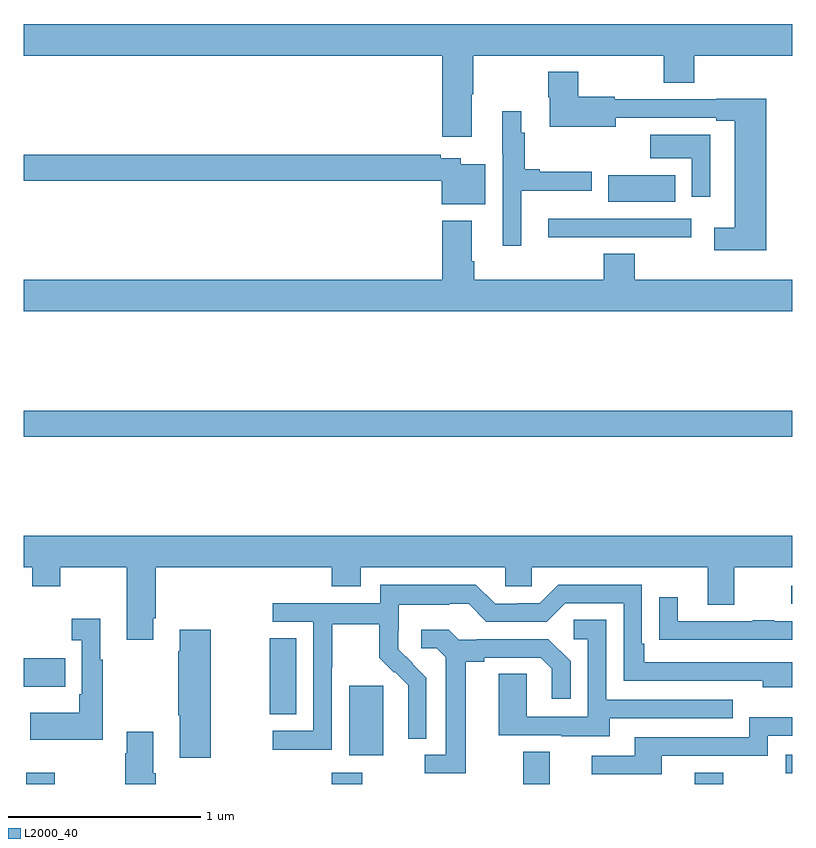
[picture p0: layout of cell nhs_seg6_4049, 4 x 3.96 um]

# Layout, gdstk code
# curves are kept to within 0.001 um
import gdstk
lib = gdstk.Library(unit=1e-6, precision=1e-09)
def R(c, l, rs):  # rectangles x0, y0, x1, y1
    for r in rs: c.add(gdstk.rectangle(r[:2], r[2:], *l))
def P(c, l, *ps):  # polygons
    for p in ps: c.add(gdstk.Polygon(p, *l))
L2000_40 = (2000, 40)

nhs_seg6_4049 = lib.new_cell('nhs_seg6_4049')
R(nhs_seg6_4049, L2000_40, [(349.014,987.5,349.161,987.559), (350.603,987.5,350.763,987.559), (351.599,987.5,351.739,987.668), (352.493,987.5,352.641,987.559), (352.965,987.555,353,987.651), (350.693,987.65,350.872,988.011), (350.281,987.862,350.419,988.259), (349,988.007,349.217,988.155), (352.995,988.437,353,988.533), (349,989.308,353,989.444), (352.042,990.53,352.391,990.67)])
P(nhs_seg6_4049, L2000_40, [(351.331,991.09),(351.339,991.09),(351.339,991.292),(352.33,991.292),(352.33,991.15),(352.49,991.15),(352.49,991.292),(353,991.292),(353,991.456),(349,991.456),(349,991.292),(351.179,991.292),(351.179,990.87),(351.331,990.87)],
  [(352.865,991.068),(352.604,991.068),(352.604,991.065),(352.077,991.065),(352.077,991.078),(351.885,991.078),(351.885,991.207),(351.73,991.207),(351.73,991.074),(351.737,991.074),(351.737,990.92),(352.081,990.92),(352.081,990.969),(352.604,990.969),(352.604,990.953),(352.7,990.953),(352.7,990.395),(352.593,990.395),(352.593,990.278),(352.865,990.278)],
  [(351.589,990.587),(351.957,990.587),(351.957,990.687),(351.685,990.687),(351.685,990.7),(351.608,990.7),(351.608,990.89),(351.589,990.89),(351.589,991.003),(351.491,991.003),(351.491,990.781),(351.492,990.781),(351.492,990.303),(351.589,990.303)],
  [(352.572,990.879),(352.26,990.879),(352.26,990.758),(352.476,990.758),(352.476,990.558),(352.572,990.558)],
  [(351.403,990.727),(351.274,990.727),(351.274,990.756),(351.17,990.756),(351.17,990.776),(349,990.776),(349,990.64),(351.176,990.64),(351.176,990.518),(351.403,990.518)],
  [(352.474,990.441),(351.948,990.441),(351.948,990.442),(351.729,990.442),(351.729,990.345),(352.474,990.345)],
  [(353,990.124),(352.179,990.124),(352.179,990.26),(352.019,990.26),(352.019,990.124),(351.344,990.124),(351.344,990.22),(351.331,990.22),(351.331,990.433),(351.179,990.433),(351.179,990.124),(349,990.124),(349,989.96),(353,989.96)],
  [(349.675,988.363),(349.688,988.363),(349.688,988.628),(350.603,988.628),(350.603,988.529),(350.755,988.529),(350.755,988.628),(351.507,988.628),(351.507,988.53),(351.645,988.53),(351.645,988.628),(352.559,988.628),(352.559,988.434),(352.699,988.434),(352.699,988.628),(353,988.628),(353,988.792),(349,988.792),(349,988.628),(349.043,988.628),(349.043,988.529),(349.191,988.529),(349.191,988.628),(349.535,988.628),(349.535,988.251),(349.675,988.251)],
  [(350.604,988.108),(350.607,988.108),(350.607,988.332),(350.851,988.332),(350.851,988.157),(350.928,988.08),(350.931,988.083),(351.002,988.013),(351.002,987.89),(351,987.89),(351,987.736),(351.096,987.736),(351.096,988.054),(350.95,988.202),(350.95,988.299),(350.952,988.299),(350.952,988.433),(351.215,988.433),(351.215,988.437),(351.315,988.437),(351.408,988.344),(351.723,988.344),(351.819,988.44),(352.122,988.44),(352.122,988.038),(352.847,988.038),(352.847,988.004),(353,988.004),(353,988.134),(352.231,988.134),(352.231,988.231),(352.218,988.231),(352.218,988.536),(351.783,988.536),(351.687,988.44),(351.569,988.44),(351.569,988.437),(351.453,988.437),(351.353,988.537),(350.856,988.537),(350.856,988.44),(350.295,988.44),(350.295,988.344),(350.508,988.344),(350.508,987.777),(350.295,987.777),(350.295,987.679),(350.604,987.679)],
  [(353,988.347),(352.907,988.347),(352.907,988.352),(352.795,988.352),(352.795,988.347),(352.405,988.347),(352.405,988.471),(352.309,988.471),(352.309,988.252),(352.411,988.252),(352.411,988.251),(353,988.251)],
  [(349.411,988.147),(349.399,988.147),(349.399,988.36),(349.251,988.36),(349.251,988.247),(349.302,988.247),(349.302,987.967),(349.29,987.967),(349.29,987.871),(349.033,987.871),(349.033,987.731),(349.411,987.731)],
  [(352.051,987.843),(352.691,987.843),(352.691,987.939),(352.032,987.939),(352.032,988.355),(351.864,988.355),(351.864,988.254),(351.936,988.254),(351.936,987.849),(351.618,987.849),(351.618,988.073),(351.473,988.073),(351.473,987.753),(351.797,987.753),(351.797,987.749),(352.051,987.749)],
  [(351.301,988.136),(351.397,988.136),(351.397,988.158),(351.692,988.158),(351.749,988.101),(351.749,987.945),(351.846,987.945),(351.846,988.138),(351.73,988.254),(351.358,988.254),(351.358,988.251),(351.264,988.251),(351.212,988.303),(351.069,988.303),(351.069,988.206),(351.15,988.206),(351.197,988.159),(351.197,987.651),(351.087,987.651),(351.087,987.555),(351.301,987.555)],
  [(349.974,988.303),(349.811,988.303),(349.811,988.19),(349.804,988.19),(349.804,987.859),(349.811,987.859),(349.811,987.636),(349.974,987.636)],
  [(352.321,987.648),(352.872,987.648),(352.872,987.75),(353,987.75),(353,987.847),(352.776,987.847),(352.776,987.744),(352.181,987.744),(352.181,987.648),(351.957,987.648),(351.957,987.552),(352.321,987.552)],
  [(349.688,987.556),(349.675,987.556),(349.675,987.772),(349.535,987.772),(349.535,987.659),(349.528,987.659),(349.528,987.5),(349.688,987.5)])

lib.write_gds('nhs_seg6_4049.gds')
